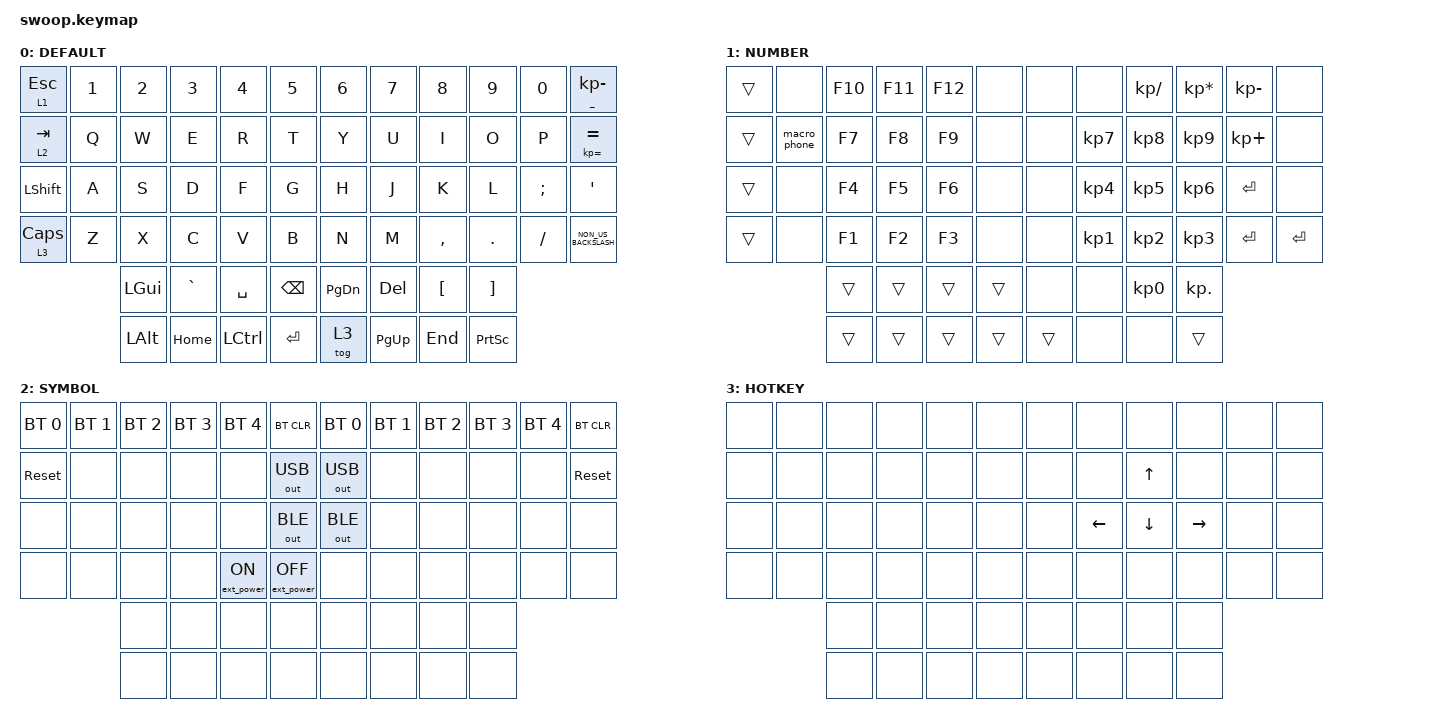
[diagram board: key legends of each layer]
#include <behaviors.dtsi>
#include <dt-bindings/zmk/bt.h>
#include <dt-bindings/zmk/ext_power.h>
#include <dt-bindings/zmk/keys.h>
#include <dt-bindings/zmk/outputs.h>

#define DEFAULT 0
#define NUMBER  1
#define SYMBOL  2
#define HOTKEY  3

#define AS(keycode) &as LS(keycode) keycode

/ {
    behaviors {
        td0: tap_dance_0 {
            compatible = "zmk,behavior-tap-dance";
            label = "TAP_DANCE_0";
            #binding-cells = <0>;
            tapping-term-ms = <200>;
            bindings = <&kp ESC>, <&kp TAB>;
        };
    };

    behaviors {
        as: auto_shift {
            compatible = "zmk,behavior-hold-tap";
            label = "AUTO_SHIFT";
            #binding-cells = <2>;
            tapping-term-ms = <200>;
            quick-tap-ms = <0>;
            flavor = "tap-preferred";
            bindings = <&kp>, <&kp>;
        };

        modcp: mod_copy {
            compatible = "zmk,behavior-mod-morph";
            label = "MOD_COPY";
            #binding-cells = <0>;
            bindings = <&as LS(C) C>, <&kp C>;

            mods = <(LGUI | RGUI)>;
        };
    };

    macros {
        macro_phone: macro_phone {
            // 1351

            label = "MACRO_PHONE";
            compatible = "zmk,behavior-macro";
            #binding-cells = <0>;
            bindings = <&kp N1 &kp N3 &kp N5 &kp N1>;
        };

        macro_email_q: macro_email_q {
            // 2894512440@qq.com

            label = "MACRO_EMAIL_QQ";
            compatible = "zmk,behavior-macro";
            #binding-cells = <0>;
            bindings = <&kp N2 &kp N8 &kp N9 &kp N4 &kp N5 &kp N1 &kp N2 &kp N4 &kp N4 &kp N0 &kp AT &kp Q &kp Q &kp DOT &kp C &kp O &kp M>;
        };

        macro_email_g: macro_email_g {
            // 135115

            compatible = "zmk,behavior-macro";
            label = "MACRO_EMAIL_GMAIL";
            #binding-cells = <0>;
            bindings = <&kp N1 &kp N3 &kp N5 &kp N1 &kp N1 &kp N5>;
        };
    };

    combos {
        compatible = "zmk,combos";

        combo_00 {
            timeout-ms = <50>;
            key-positions = <>;
            bindings = <&kp  LSHFT>;
        };

        combo_11 {
            timeout-ms = <40>;
            key-positions = <>;
            bindings = <&mo 2>;
        };

        combo_22 {
            timeout-ms = <50>;
            key-positions = <>;
            bindings = <&kp EXCL>;
        };

        combo_33 {
            timeout-ms = <50>;
            key-positions = <>;
            bindings = <&kp AT>;
        };

        combo_44 {
            timeout-ms = <50>;
            key-positions = <>;
            bindings = <&kp HASH>;
        };
    };

    keymap {
        compatible = "zmk,keymap";

        default_layer {
            label = "DEFAULT";
            bindings = <
&lt 1 ESC       &kp N1  &kp N2        &kp N3     &kp N4     &kp N5         &kp N6         &kp N7       &kp N8     &kp N9           &kp N0    &mt UNDERSCORE KP_MINUS
&lt 2 TAB       &kp Q   &kp W         &kp E      &kp R      &kp T          &kp Y          &kp U        &kp I      &kp O            &kp P     &mt KP_EQUAL EQUAL
&kp LEFT_SHIFT  &kp A   &kp S         &kp D      &kp F      &kp G          &kp H          &kp J        &kp K      &kp L            &kp SEMI  &kp SQT
&lt 3 CAPSLOCK  &kp Z   &kp X         &kp C      &kp V      &kp B          &kp N          &kp M        &kp COMMA  &kp DOT          &kp FSLH  &kp NON_US_BACKSLASH
                        &kp LGUI      &kp GRAVE  &kp SPACE  &kp BACKSPACE  &kp PAGE_DOWN  &kp DELETE   &kp LBKT   &kp RBKT
                        &kp LEFT_ALT  &kp HOME   &kp LCTRL  &kp ENTER      &tog 3         &kp PAGE_UP  &kp END    &kp PRINTSCREEN
            >;
        };

        number_layer {
            label = "NUMBER";
            bindings = <
&trans  &none         &kp F10  &kp F11  &kp F12  &none   &none   &none      &kp KP_SLASH  &kp KP_MULTIPLY  &kp KP_MINUS  &none
&trans  &macro_phone  &kp F7   &kp F8   &kp F9   &none   &none   &kp KP_N7  &kp KP_N8     &kp KP_N9        &kp KP_PLUS   &none
&trans  &none         &kp F4   &kp F5   &kp F6   &none   &none   &kp KP_N4  &kp KP_N5     &kp KP_N6        &kp ENTER     &none
&trans  &none         &kp F1   &kp F2   &kp F3   &none   &none   &kp KP_N1  &kp KP_N2     &kp KP_N3        &kp ENTER     &kp ENTER
                      &trans   &trans   &trans   &trans  &none   &none      &kp KP_N0     &kp KP_DOT
                      &trans   &trans   &trans   &trans  &trans  &none      &none         &trans
            >;
        };

        symbol_layer {
            label = "SYMBOL";
            bindings = <
&bt BT_SEL 0  &bt BT_SEL 1  &bt BT_SEL 2  &bt BT_SEL 3  &bt BT_SEL 4      &bt BT_CLR         &bt BT_SEL 0  &bt BT_SEL 1  &bt BT_SEL 2  &bt BT_SEL 3  &bt BT_SEL 4  &bt BT_CLR
&sys_reset    &none         &none         &none         &none             &out OUT_USB       &out OUT_USB  &none         &none         &none         &none         &sys_reset
&none         &none         &none         &none         &none             &out OUT_BLE       &out OUT_BLE  &none         &none         &none         &none         &none
&none         &none         &none         &none         &ext_power EP_ON  &ext_power EP_OFF  &none         &none         &none         &none         &none         &none
                            &none         &none         &none             &none              &none         &none         &none         &none
                            &none         &none         &none             &none              &none         &none         &none         &none
            >;
        };

        hotkey_layer {
            label = "HOTKEY";
            bindings = <
&none  &none  &none  &none  &none  &none  &none  &none           &none           &none            &none  &none
&none  &none  &none  &none  &none  &none  &none  &none           &kp UP_ARROW    &none            &none  &none
&none  &none  &none  &none  &none  &none  &none  &kp LEFT_ARROW  &kp DOWN_ARROW  &kp RIGHT_ARROW  &none  &none
&none  &none  &none  &none  &none  &none  &none  &none           &none           &none            &none  &none
              &none  &none  &none  &none  &none  &none           &none           &none
              &none  &none  &none  &none  &none  &none           &none           &none
            >;
        };
    };
};
